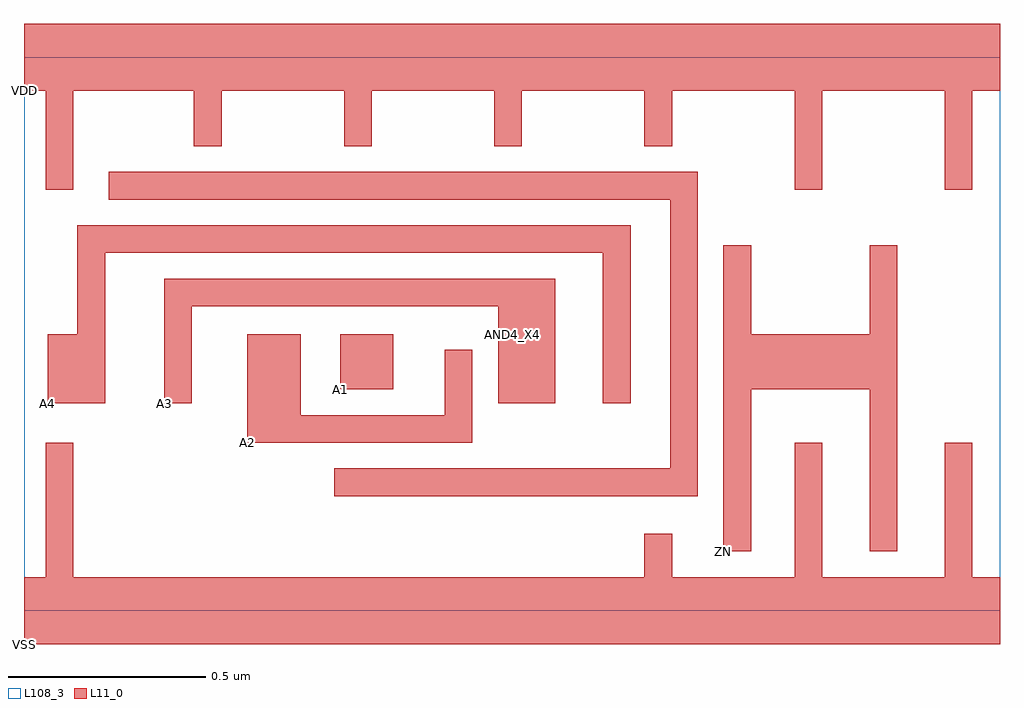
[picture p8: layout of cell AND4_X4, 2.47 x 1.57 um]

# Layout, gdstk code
import gdstk
lib = gdstk.Library(unit=1e-6, precision=1e-09)
def R(c, l, rs):  # rectangles x0, y0, x1, y1
    for r in rs: c.add(gdstk.rectangle(r[:2], r[2:], *l))
def P(c, l, *ps):  # polygons
    for p in ps: c.add(gdstk.Polygon(p, *l))
L11_0 = (11, 0)
L108_3 = (108, 3)

and4_x4 = lib.new_cell('AND4_X4')
R(and4_x4, L11_0, [(0.8,0.56,0.935,0.7)])
P(and4_x4, L11_0, [(0.565,0.425),(1.135,0.425),(1.135,0.66),(1.065,0.66),(1.065,0.495),(0.7,0.495),(0.7,0.7),(0.565,0.7)],
  [(0.355,0.525),(0.425,0.525),(0.425,0.77),(1.2,0.77),(1.2,0.525),(1.345,0.525),(1.345,0.84),(0.355,0.84)],
  [(0.06,0.525),(0.205,0.525),(0.205,0.905),(1.465,0.905),(1.465,0.525),(1.535,0.525),(1.535,0.975),(0.135,0.975),(0.135,0.7),(0.06,0.7)],
  [(1.77,0.15),(1.84,0.15),(1.84,0.56),(2.14,0.56),(2.14,0.15),(2.21,0.15),(2.21,0.925),(2.14,0.925),(2.14,0.7),(1.84,0.7),(1.84,0.925),(1.77,0.925)],
  [(0,1.315),(0.055,1.315),(0.055,1.065),(0.125,1.065),(0.125,1.315),(0.43,1.315),(0.43,1.175),(0.5,1.175),(0.5,1.315),(0.81,1.315),(0.81,1.175),(0.88,1.175),(0.88,1.315),(1.19,1.315),(1.19,1.175),(1.26,1.175),(1.26,1.315),(1.57,1.315),(1.57,1.175),(1.64,1.175),(1.64,1.315),(1.705,1.315),(1.95,1.315),(1.95,1.065),(2.02,1.065),(2.02,1.315),(2.33,1.315),(2.33,1.065),(2.4,1.065),(2.4,1.315),(2.47,1.315),(2.47,1.485),(1.705,1.485),(0,1.485)],
  [(0,-0.085),(2.47,-0.085),(2.47,0.085),(2.4,0.085),(2.4,0.425),(2.33,0.425),(2.33,0.085),(2.02,0.085),(2.02,0.425),(1.95,0.425),(1.95,0.085),(1.64,0.085),(1.64,0.195),(1.57,0.195),(1.57,0.085),(0.125,0.085),(0.125,0.425),(0.055,0.425),(0.055,0.085),(0,0.085)],
  [(0.215,1.04),(1.635,1.04),(1.635,0.36),(0.785,0.36),(0.785,0.29),(1.705,0.29),(1.705,1.11),(0.215,1.11)])
R(and4_x4, L108_3, [(0,0,2.47,1.4)])
and4_x4.add(gdstk.Label('AND4_X4', (1.235,0.7), layer=108, texttype=3))
and4_x4.add(gdstk.Label('A1', (0.8,0.56), layer=11, texttype=0))
and4_x4.add(gdstk.Label('A2', (0.565,0.425), layer=11, texttype=0))
and4_x4.add(gdstk.Label('A3', (0.355,0.525), layer=11, texttype=0))
and4_x4.add(gdstk.Label('A4', (0.06,0.525), layer=11, texttype=0))
and4_x4.add(gdstk.Label('ZN', (1.77,0.15), layer=11, texttype=0))
and4_x4.add(gdstk.Label('VDD', (0,1.315), layer=11, texttype=0))
and4_x4.add(gdstk.Label('VSS', (0,-0.085), layer=11, texttype=0))

lib.write_gds('AND4_X4.gds')
